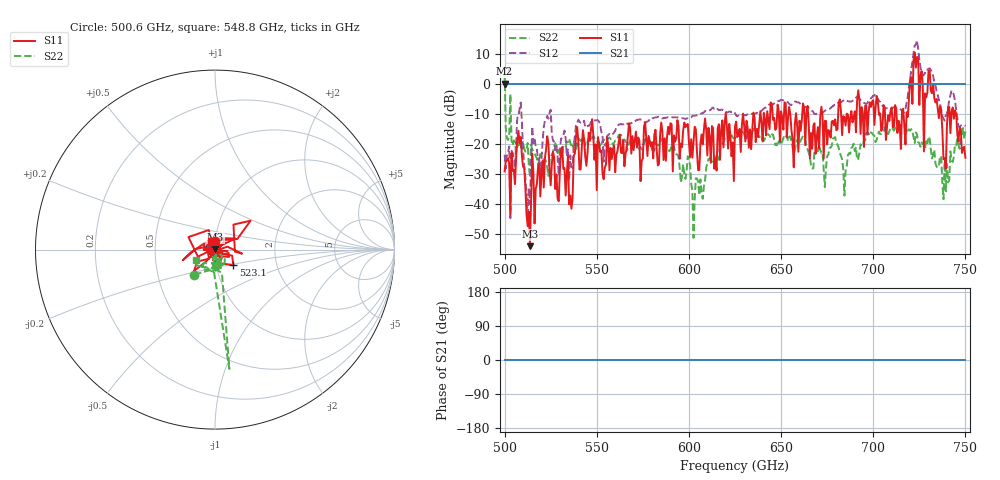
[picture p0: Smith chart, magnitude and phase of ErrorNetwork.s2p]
!Created with skrf (https://github.com/scikit-rf/scikit-rf).
# GHz S RI R 50.0
!freq	ReS11	ImS11	ReS21	ImS21	ReS12	ImS12	ReS22	ImS22
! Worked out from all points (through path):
!   401 points, 500 GHz to 750 GHz, reference 50 ohm
!   highest |S21| = 0.00 dB at 500 GHz (marker M1); lowest = 0.0 dB at 500 GHz (marker M2)
!   lowest |S11| = -54.1 dB at 513.8 GHz (marker M3), VSWR 1.00, Z = 50.2 + j0.0956 ohm
!   |S11| at or under -10 dB: start of sweep to 619.9 GHz; 620 GHz to 629.4 GHz (9.332 GHz wide, 1.49 % of centre); 672.3 GHz to 681 GHz (8.662 GHz wide, 1.28 % of centre)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
!   |S22| runs from -51.4 to 3.4 dB; largest |S21 - S12| = 5.3
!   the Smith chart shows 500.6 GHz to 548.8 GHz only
!   S11 on the Smith chart (normalised r, x): 500.6 GHz: 0.99, +0.10; 523.1 GHz: 1.21, -0.21; 548.8 GHz: 0.95, +0.09
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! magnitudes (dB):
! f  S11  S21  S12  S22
! 500 GHz  -29.2  0.0  -23.7  3.4
! 500.6 GHz  -26.0  0.0  -28.3  -14.8
! 504.4 GHz  -29.0  0.0  -23.0  -20.5
! 508.1 GHz  -19.7  0.0  -8.3  -20.2
! 512.5 GHz  -47.5  0.0  -43.9  -19.8
! 513.8 GHz  -54.1  0.0  -40.2  -31.3
! 523.1 GHz  -17.5  0.0  -10.7  -27.8
! 535.6 GHz  -37.2  0.0  -23.9  -19.7
! 538.8 GHz  -17.3  0.0  -13.7  -21.8
! 541.9 GHz  -21.1  0.0  -12.5  -18.6
! 548.8 GHz  -25.4  0.0  -12.3  -18.2
! 583.8 GHz  -26.8  0.0  -11.1  -19.9
! 602.5 GHz  -19.6  0.0  -10.7  -51.4
! 625 GHz  -14.3  0.0  -9.8  -18.3
! 643.8 GHz  -15.2  0.0  -6.9  -17.3
! 666.9 GHz  -21.7  0.0  -9.1  -28.3
! 708.8 GHz  -12.4  0.0  -8.5  -15.8
! 716.2 GHz  -8.4  0.0  -9.8  -14.1
! 723.1 GHz  5.3  0.0  13.0  -16.2
! 738.8 GHz  -24.9  0.0  -12.3  -26.1
! 743.8 GHz  -11.7  0.0  -3.8  -24.4
! 750 GHz  -24.7  0.0  -14.1  -16.0
